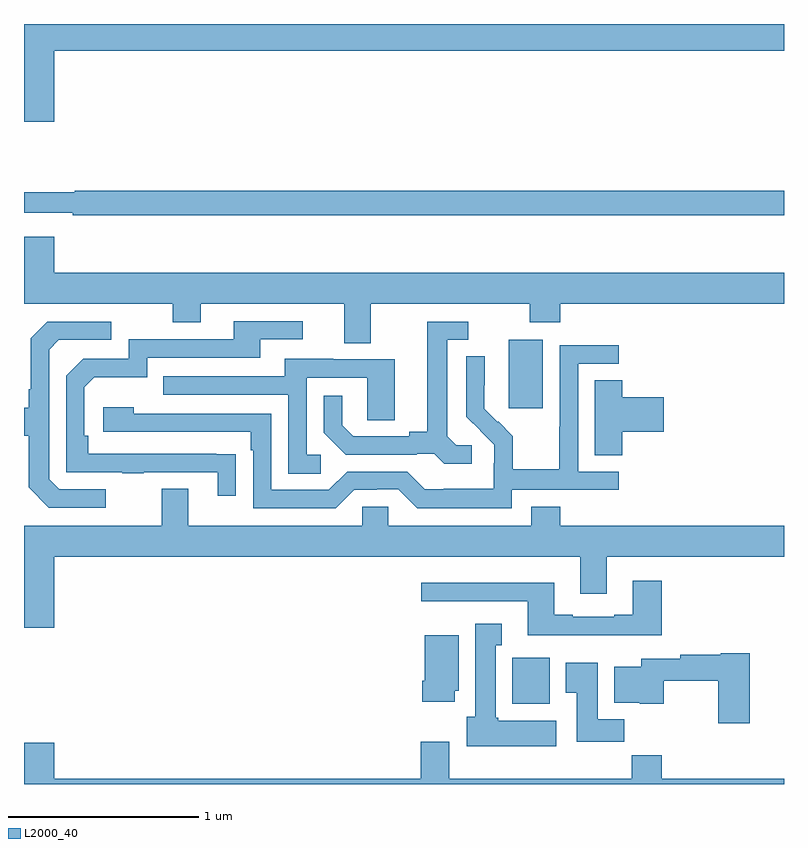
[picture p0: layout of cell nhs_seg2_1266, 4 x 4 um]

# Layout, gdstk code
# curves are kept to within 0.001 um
import gdstk
lib = gdstk.Library(unit=1e-6, precision=1e-09)
def R(c, l, rs):  # rectangles x0, y0, x1, y1
    for r in rs: c.add(gdstk.rectangle(r[:2], r[2:], *l))
def P(c, l, *ps):  # polygons
    for p in ps: c.add(gdstk.Polygon(p, *l))
L2000_40 = (2000, 40)

nhs_seg2_1266 = lib.new_cell('nhs_seg2_1266')
R(nhs_seg2_1266, L2000_40, [(179.57,620.222,179.767,620.464), (179.552,621.777,179.731,622.138)])
P(nhs_seg2_1266, L2000_40, [(177.16,623.66),(181,623.66),(181,623.8),(177,623.8),(177,623.286),(177.16,623.286)],
  [(181,622.922),(177.266,622.922),(177.266,622.915),(177,622.915),(177,622.806),(177.256,622.806),(177.256,622.794),(181,622.794)],
  [(178.825,622.328),(179.662,622.328),(179.662,622.229),(179.822,622.229),(179.822,622.328),(181,622.328),(181,622.492),(177.16,622.492),(177.16,622.681),(177,622.681),(177,622.328),(177.784,622.328),(177.784,622.229),(177.931,622.229),(177.931,622.328),(178.685,622.328),(178.685,622.12),(178.825,622.12)],
  [(178.115,621.536),(177.338,621.537),(177.338,621.634),(177.318,621.634),(177.318,621.888),(177.371,621.941),(177.648,621.941),(177.648,622.044),(178.243,622.044),(178.243,622.14),(178.468,622.14),(178.468,622.236),(178.103,622.236),(178.103,622.14),(177.552,622.14),(177.552,622.038),(177.312,622.038),(177.222,621.948),(177.222,621.441),(177.517,621.441),(177.517,621.436),(177.629,621.436),(177.629,621.441),(178.019,621.441),(178.019,621.318),(178.115,621.318)],
  [(179.356,621.582),(179.274,621.582),(179.227,621.629),(179.227,622.137),(179.338,622.137),(179.338,622.233),(179.123,622.233),(179.123,621.653),(179.027,621.653),(179.027,621.63),(178.732,621.63),(178.675,621.687),(178.675,621.844),(178.578,621.844),(178.578,621.65),(178.694,621.534),(179.066,621.534),(179.066,621.537),(179.16,621.537),(179.212,621.485),(179.356,621.485)],
  [(177.43,621.351),(177.186,621.351),(177.132,621.405),(177.132,622.086),(177.183,622.137),(177.46,622.137),(177.46,622.233),(177.123,622.233),(177.036,622.146),(177.036,621.877),(177.024,621.877),(177.024,621.781),(177,621.781),(177,621.634),(177.024,621.634),(177.024,621.361),(177.129,621.255),(177.43,621.255)],
  [(179.568,621.348),(180.13,621.348),(180.13,621.444),(179.916,621.444),(179.916,622.011),(180.13,622.011),(180.13,622.11),(179.82,622.11),(179.82,621.68),(179.818,621.68),(179.818,621.457),(179.573,621.457),(179.573,621.631),(179.496,621.708),(179.493,621.705),(179.423,621.776),(179.424,622.052),(179.328,622.052),(179.328,621.734),(179.474,621.586),(179.474,621.489),(179.472,621.489),(179.472,621.355),(179.209,621.355),(179.209,621.351),(179.109,621.351),(179.016,621.444),(178.701,621.444),(178.605,621.348),(178.302,621.348),(178.302,621.75),(177.578,621.75),(177.578,621.784),(177.417,621.784),(177.417,621.654),(178.193,621.654),(178.193,621.557),(178.206,621.557),(178.206,621.252),(178.641,621.252),(178.737,621.348),(178.856,621.348),(178.856,621.351),(178.971,621.351),(179.071,621.251),(179.568,621.251)],
  [(178.561,621.534),(178.488,621.534),(178.488,621.939),(178.806,621.939),(178.806,621.715),(178.951,621.715),(178.951,622.035),(178.627,622.035),(178.627,622.039),(178.373,622.039),(178.373,621.945),(177.733,621.945),(177.733,621.849),(178.392,621.849),(178.392,621.433),(178.561,621.433)],
  [(180.149,621.653),(180.367,621.653),(180.367,621.836),(180.149,621.836),(180.149,621.926),(180.005,621.926),(180.005,621.529),(180.149,621.529)],
  [(177.16,620.996),(179.927,620.996),(179.927,620.802),(180.067,620.802),(180.067,620.996),(181,620.996),(181,621.16),(179.822,621.16),(179.822,621.259),(179.669,621.259),(179.669,621.16),(178.917,621.16),(178.917,621.258),(178.779,621.258),(178.779,621.16),(177.865,621.16),(177.865,621.355),(177.725,621.355),(177.725,621.16),(177,621.16),(177,620.622),(177.16,620.622)],
  [(180.356,620.869),(180.203,620.869),(180.203,620.692),(180.107,620.692),(180.107,620.679),(179.887,620.679),(179.887,620.692),(179.791,620.692),(179.791,620.86),(179.091,620.86),(179.091,620.763),(179.651,620.763),(179.651,620.582),(180.356,620.582)],
  [(179.8,620.134),(179.496,620.134),(179.496,620.148),(179.482,620.148),(179.482,620.531),(179.515,620.531),(179.515,620.644),(179.375,620.644),(179.375,620.154),(179.33,620.154),(179.33,620),(179.8,620)],
  [(179.266,620.292),(179.287,620.292),(179.287,620.584),(179.108,620.584),(179.108,620.344),(179.096,620.344),(179.096,620.232),(179.266,620.232)],
  [(180.82,620.488),(180.666,620.488),(180.666,620.48),(180.454,620.48),(180.454,620.46),(180.248,620.46),(180.248,620.416),(180.107,620.416),(180.107,620.228),(180.24,620.228),(180.24,620.222),(180.366,620.222),(180.366,620.344),(180.655,620.344),(180.655,620.121),(180.82,620.121)],
  [(180.158,620.14),(180.019,620.14),(180.019,620.437),(179.852,620.437),(179.852,620.281),(179.909,620.281),(179.909,620.022),(180.158,620.022)],
  [(181,619.828),(180.356,619.828),(180.356,619.952),(180.199,619.952),(180.199,619.828),(179.239,619.828),(179.239,620.023),(179.087,620.023),(179.087,619.828),(177.16,619.828),(177.16,620.017),(177,620.017),(177,619.8),(181,619.8)])

lib.write_gds('nhs_seg2_1266.gds')
